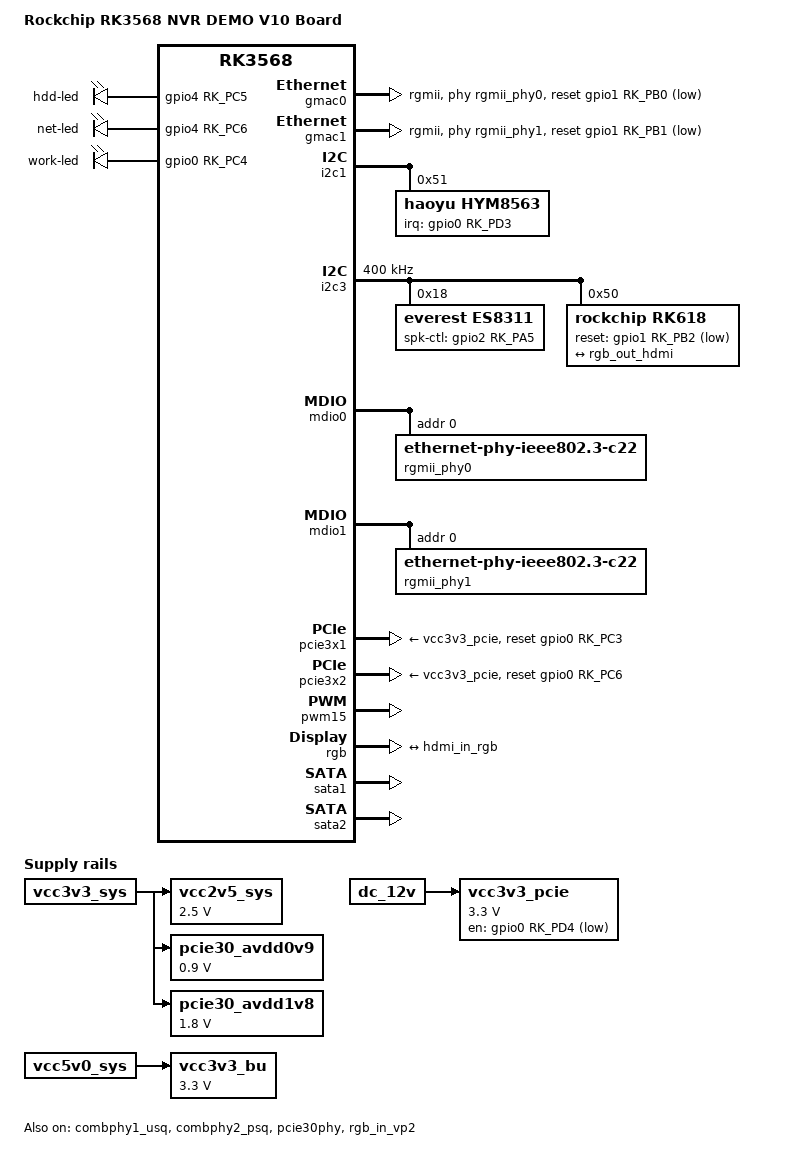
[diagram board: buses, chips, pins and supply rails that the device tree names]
// SPDX-License-Identifier: (GPL-2.0+ OR MIT)
/*
 * Copyright (c) 2020 Rockchip Electronics Co., Ltd.
 *
 */

/dts-v1/;

#include "rk3568-nvr.dtsi"
#include <dt-bindings/clock/rk618-cru.h>

/ {
	model = "Rockchip RK3568 NVR DEMO V10 Board";
	compatible = "rockchip,rk3568-nvr-demo-v10", "rockchip,rk3568";

	gpio-leds {
		compatible = "gpio-leds";

		hdd-led {
			gpios = <&gpio4 RK_PC5 GPIO_ACTIVE_HIGH>;
			default-state = "off";
		};
		net-led {
			gpios = <&gpio4 RK_PC6 GPIO_ACTIVE_HIGH>;
			default-state = "off";
		};
		work-led {
			gpios = <&gpio0 RK_PC4 GPIO_ACTIVE_HIGH>;
			linux,default-trigger = "timer";
		};
	};

	i2s1_sound: i2s1-sound {
		status = "okay";
		compatible = "simple-audio-card";
		simple-audio-card,format = "i2s";
		simple-audio-card,mclk-fs = <256>;
		simple-audio-card,name = "rockchip,i2s1-sound";
		simple-audio-card,cpu {
			sound-dai = <&i2s1_8ch>;
		};
		simple-audio-card,codec {
			sound-dai = <&es8311>;
		};
	};

	vcc2v5_sys: vcc2v5-ddr {
		compatible = "regulator-fixed";
		regulator-name = "vcc2v5-sys";
		regulator-always-on;
		regulator-boot-on;
		regulator-min-microvolt = <2500000>;
		regulator-max-microvolt = <2500000>;
		vin-supply = <&vcc3v3_sys>;
	};

	vcc3v3_pcie: gpio-regulator {
		compatible = "regulator-fixed";
		regulator-name = "vcc3v3_pcie";
		regulator-min-microvolt = <3300000>;
		regulator-max-microvolt = <3300000>;
		gpio = <&gpio0 RK_PD4 GPIO_ACTIVE_HIGH>;
		startup-delay-us = <5000>;
		vin-supply = <&dc_12v>;
	};

	pcie30_avdd0v9: pcie30-avdd0v9 {
		compatible = "regulator-fixed";
		regulator-name = "pcie30_avdd0v9";
		regulator-always-on;
		regulator-boot-on;
		regulator-min-microvolt = <900000>;
		regulator-max-microvolt = <900000>;
		vin-supply = <&vcc3v3_sys>;
	};

	pcie30_avdd1v8: pcie30-avdd1v8 {
		compatible = "regulator-fixed";
		regulator-name = "pcie30_avdd1v8";
		regulator-always-on;
		regulator-boot-on;
		regulator-min-microvolt = <1800000>;
		regulator-max-microvolt = <1800000>;
		vin-supply = <&vcc3v3_sys>;
	};

	vcc3v3_bu: vcc3v3-bu {
		compatible = "regulator-fixed";
		regulator-name = "vcc3v3_bu";
		regulator-always-on;
		regulator-boot-on;
		regulator-min-microvolt = <3300000>;
		regulator-max-microvolt = <3300000>;
		vin-supply = <&vcc5v0_sys>;
	};
};

&combphy1_usq {
	pinctrl-names = "default";
	pinctrl-0 = <&sata_pm_reset>;
	rockchip,dis-u3otg1-port;
	status = "okay";
};

&combphy2_psq{
	status = "okay";
};

&gmac0 {
	phy-mode = "rgmii";
	clock_in_out = "output";

	snps,reset-gpio = <&gpio1 RK_PB0 GPIO_ACTIVE_LOW>;
	snps,reset-active-low;
	/* Reset time is 20ms, 100ms for rtl8211f */
	snps,reset-delays-us = <0 20000 100000>;

	assigned-clocks = <&cru SCLK_GMAC0_RX_TX>, <&cru SCLK_GMAC0>;
	assigned-clock-parents = <&cru SCLK_GMAC0_RGMII_SPEED>, <&cru CLK_MAC0_2TOP>;
	assigned-clock-rates = <0>, <125000000>;

	pinctrl-names = "default";
	pinctrl-0 = <&gmac0_miim
		     &gmac0_tx_bus2
		     &gmac0_rx_bus2
		     &gmac0_rgmii_clk
		     &gmac0_rgmii_bus>;

	tx_delay = <0x43>;
	rx_delay = <0x33>;

	phy-handle = <&rgmii_phy0>;
	status = "okay";
};

&gmac1 {
	phy-mode = "rgmii";
	clock_in_out = "output";

	snps,reset-gpio = <&gpio1 RK_PB1 GPIO_ACTIVE_LOW>;
	snps,reset-active-low;
	/* Reset time is 20ms, 100ms for rtl8211f */
	snps,reset-delays-us = <0 20000 100000>;

	assigned-clocks = <&cru SCLK_GMAC1_RX_TX>, <&cru SCLK_GMAC1>;
	assigned-clock-parents = <&cru SCLK_GMAC1_RGMII_SPEED>, <&cru CLK_MAC1_2TOP>;
	assigned-clock-rates = <0>, <125000000>;

	pinctrl-names = "default";
	pinctrl-0 = <&gmac1m1_miim
		     &gmac1m1_tx_bus2
		     &gmac1m1_rx_bus2
		     &gmac1m1_rgmii_clk
		     &gmac1m1_rgmii_bus>;

	tx_delay = <0x4f>;
	rx_delay = <0x2d>;

	phy-handle = <&rgmii_phy1>;
	status = "okay";
};

&i2c1 {
	status = "okay";
	hym8563: hym8563@51 {
		compatible = "haoyu,hym8563";
		reg = <0x51>;

		pinctrl-names = "default";
		pinctrl-0 = <&rtc_int>;

		interrupt-parent = <&gpio0>;
		interrupts = <RK_PD3 IRQ_TYPE_LEVEL_LOW>;
	};
};

&i2c3 {
	status = "okay";
	clock-frequency = <400000>;

	es8311: es8311@18 {
		compatible = "everest,es8311";
		reg = <0x18>;
		clocks = <&cru I2S1_MCLKOUT>;
		clock-names = "mclk";
		adc-pga-gain = <6>;	/* 18dB */
		adc-volume = <0xbf>;	/* 0dB */
		dac-volume = <0xbf>;	/* 0dB */
		aec-mode = "dac left, adc right";
		pinctrl-names = "default";
		pinctrl-0 = <&i2s1m0_mclk>;
		assigned-clocks = <&cru I2S1_MCLKOUT>, <&cru I2S1_MCLK_TX_IOE>;
		assigned-clock-rates = <12288000>;
		assigned-clock-parents = <&cru I2S1_MCLKOUT_TX>, <&cru I2S1_MCLKOUT_TX>;
		spk-ctl-gpios = <&gpio2 RK_PA5 GPIO_ACTIVE_HIGH>;
		#sound-dai-cells = <0>;
	};

	rk618@50 {
		compatible = "rockchip,rk618";
		reg = <0x50>;
		pinctrl-names = "default";
		pinctrl-0 = <&i2s3m1_mclk &rk618_int>;
		clocks = <&cru I2S3_MCLKOUT>;
		clock-names = "clkin";
		assigned-clocks =<&cru I2S3_MCLKOUT>, <&cru I2S3_MCLK_IOE>;
		assigned-clock-parents = <&cru I2S3_MCLKOUT_TX>, <&cru I2S3_MCLKOUT>;
		assigned-clock-rates = <11289600>;
		reset-gpios = <&gpio1 RK_PB2 GPIO_ACTIVE_LOW>;
		status = "okay";

		clock: cru {
			compatible = "rockchip,rk618-cru";
			clocks = <&cru I2S3_MCLKOUT>, <&cru DCLK_VOP2>;
			clock-names = "clkin", "lcdc0_dclkp";
			assigned-clocks = <&clock SCALER_PLLIN_CLK>,
			<&clock VIF_PLLIN_CLK>,
			<&clock SCALER_CLK>,
			<&clock VIF0_PRE_CLK>,
			<&clock CODEC_CLK>,
			<&clock DITHER_CLK>;
			assigned-clock-parents = <&cru I2S3_MCLKOUT_TX>,
			<&clock LCDC0_CLK>,
			<&clock SCALER_PLL_CLK>,
			<&clock VIF_PLL_CLK>,
			<&cru I2S3_MCLKOUT>,
			<&clock VIF0_CLK>;
			#clock-cells = <1>;
			status = "okay";
		};

		hdmi {
			compatible = "rockchip,rk618-hdmi";
			clocks = <&clock HDMI_CLK>;
			clock-names = "hdmi";
			assigned-clocks = <&clock HDMI_CLK>;
			assigned-clock-parents = <&clock VIF0_CLK>;
			interrupt-parent = <&gpio0>;
			interrupts = <8 IRQ_TYPE_LEVEL_HIGH>;
			status = "okay";

			ports {
				#address-cells = <1>;
				#size-cells = <0>;

				port@0 {
					reg = <0>;

					hdmi_in_rgb: endpoint {
						remote-endpoint = <&rgb_out_hdmi>;
					};
				};
			};
		};
	};
};

&mdio0 {
	rgmii_phy0: phy@0 {
		compatible = "ethernet-phy-ieee802.3-c22";
		reg = <0x0>;
	};
};

&mdio1 {
	rgmii_phy1: phy@0 {
		compatible = "ethernet-phy-ieee802.3-c22";
		reg = <0x0>;
	};
};

&pcie30phy {
	status = "okay";
};

&pcie3x1 {
	reset-gpios = <&gpio0 RK_PC3 GPIO_ACTIVE_HIGH>;
	vpcie3v3-supply = <&vcc3v3_pcie>;
	status = "okay";
};

&pcie3x2 {
	reset-gpios = <&gpio0 RK_PC6 GPIO_ACTIVE_HIGH>;
	vpcie3v3-supply = <&vcc3v3_pcie>;
	status = "okay";
};

&pwm15 {
	compatible = "rockchip,remotectl-pwm";
	pinctrl-names = "default";
	pinctrl-0 = <&pwm15m1_pins>;
	remote_pwm_id = <3>;
	handle_cpu_id = <1>;
	remote_support_psci = <0>;
	status = "okay";

	ir_key1 {
		rockchip,usercode = <0x4040>;
		rockchip,key_table =
			<0xf2	KEY_REPLY>,
			<0xba	KEY_BACK>,
			<0xf4	KEY_UP>,
			<0xf1	KEY_DOWN>,
			<0xef	KEY_LEFT>,
			<0xee	KEY_RIGHT>,
			<0xbd	KEY_HOME>,
			<0xea	KEY_VOLUMEUP>,
			<0xe3	KEY_VOLUMEDOWN>,
			<0xe2	KEY_SEARCH>,
			<0xb2	KEY_POWER>,
			<0xbc	KEY_MUTE>,
			<0xec	KEY_MENU>,
			<0xbf	0x190>,
			<0xe0	0x191>,
			<0xe1	0x192>,
			<0xe9	183>,
			<0xe6	248>,
			<0xe8	185>,
			<0xe7	186>,
			<0xf0	388>,
			<0xbe	0x175>;
	};

	ir_key2 {
		rockchip,usercode = <0xff00>;
		rockchip,key_table =
			<0xf9	KEY_HOME>,
			<0xbf	KEY_BACK>,
			<0xfb	KEY_MENU>,
			<0xaa	KEY_REPLY>,
			<0xb9	KEY_UP>,
			<0xe9	KEY_DOWN>,
			<0xb8	KEY_LEFT>,
			<0xea	KEY_RIGHT>,
			<0xeb	KEY_VOLUMEDOWN>,
			<0xef	KEY_VOLUMEUP>,
			<0xf7	KEY_MUTE>,
			<0xe7	KEY_POWER>,
			<0xfc	KEY_POWER>,
			<0xa9	KEY_VOLUMEDOWN>,
			<0xa8	KEY_PLAYPAUSE>,
			<0xe0	KEY_VOLUMEDOWN>,
			<0xa5	KEY_VOLUMEDOWN>,
			<0xab	183>,
			<0xb7	388>,
			<0xe8	388>,
			<0xf8	184>,
			<0xaf	185>,
			<0xed	KEY_VOLUMEDOWN>,
			<0xee	186>,
			<0xb3	KEY_VOLUMEDOWN>,
			<0xf1	KEY_VOLUMEDOWN>,
			<0xf2	KEY_VOLUMEDOWN>,
			<0xf3	KEY_SEARCH>,
			<0xb4	KEY_VOLUMEDOWN>,
			<0xa4	KEY_SETUP>,
			<0xbe	KEY_SEARCH>;
	};

	ir_key3 {
		rockchip,usercode = <0x1dcc>;
		rockchip,key_table =
			<0xee	KEY_REPLY>,
			<0xf0	KEY_BACK>,
			<0xf8	KEY_UP>,
			<0xbb	KEY_DOWN>,
			<0xef	KEY_LEFT>,
			<0xed	KEY_RIGHT>,
			<0xfc	KEY_HOME>,
			<0xf1	KEY_VOLUMEUP>,
			<0xfd	KEY_VOLUMEDOWN>,
			<0xb7	KEY_SEARCH>,
			<0xff	KEY_POWER>,
			<0xf3	KEY_MUTE>,
			<0xbf	KEY_MENU>,
			<0xf9	0x191>,
			<0xf5	0x192>,
			<0xb3	388>,
			<0xbe	KEY_1>,
			<0xba	KEY_2>,
			<0xb2	KEY_3>,
			<0xbd	KEY_4>,
			<0xf9	KEY_5>,
			<0xb1	KEY_6>,
			<0xfc	KEY_7>,
			<0xf8	KEY_8>,
			<0xb0	KEY_9>,
			<0xb6	KEY_0>,
			<0xb5	KEY_BACKSPACE>;
	};
};

&rgb {
	status = "okay";
	pinctrl-names = "default";
	pinctrl-0 = <&lcdc_ctl>;
	ports {
		port@1 {
			reg = <1>;

			rgb_out_hdmi: endpoint {
				remote-endpoint = <&hdmi_in_rgb>;
			};
		};
	};
};

&rgb_in_vp2 {
	status = "okay";
};

&sata1 {
	status = "okay";
};

&sata2 {
	status = "okay";
};

&pinctrl {
	rk618 {
		rk618_reset: rk618-reeset {
			rockchip,pins = <1 RK_PB2 RK_FUNC_GPIO &pcfg_output_high>;
		};
		rk618_int: rk618-int {
			rockchip,pins = <0 RK_PB0 RK_FUNC_GPIO &pcfg_pull_none>;
		};
	};

	rtc {
		rtc_int: rtc-int {
			rockchip,pins = <0 RK_PD3 RK_FUNC_GPIO &pcfg_pull_up>;
		};
	};

	sata {
		sata_pm_reset: sata-pm-reset {
			rockchip,pins = <4 RK_PD2 RK_FUNC_GPIO &pcfg_output_high>;
		};
	};
};
